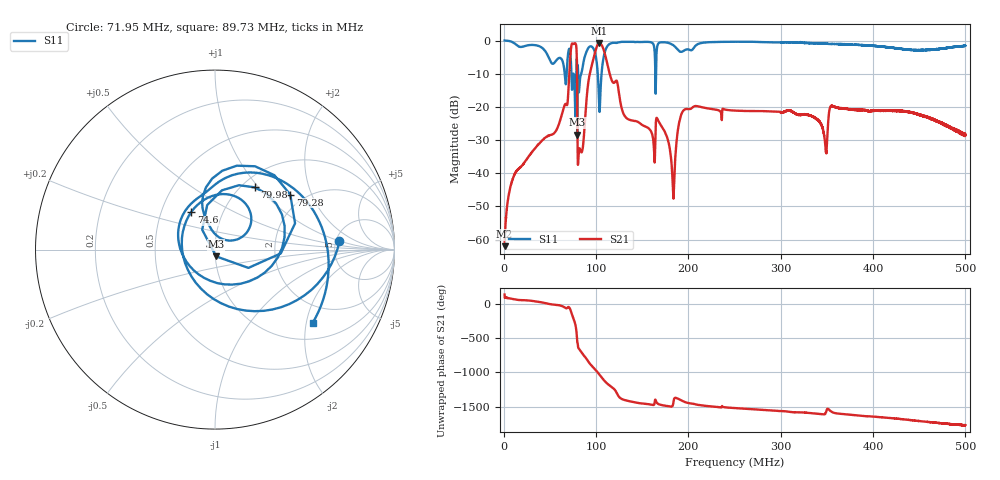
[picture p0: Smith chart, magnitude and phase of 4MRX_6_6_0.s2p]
! NanoVNA-App
! Date: 2026-08-19 17:53:23
! Start: 1MHz Stop: 500MHz Points: 6401
! S-Parameter data: F S11 S21 S12 S22
# Hz S RI R 50
!  Frequency  S11_Real  S11_Imag  S21_Real  S21_Imag  S12_Real  S12_Imag  S22_Real  S22_Imag
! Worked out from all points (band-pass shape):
!   6401 points, 1 MHz to 500 MHz, reference 50 ohm
!   highest |S21| = -0.76 dB at 103.7 MHz (marker M1); lowest = -62.0 dB at 1 MHz (marker M2)
!   |S21| within 3 dB of the highest: 72.47 MHz to 79.01 MHz (6.534 MHz wide, 8.63 % of centre); 98.78 MHz to 109.3 MHz (10.55 MHz wide, 10.1 % of centre)
!   lowest |S11| = -28.3 dB at 79.59 MHz (marker M3), VSWR 1.08, Z = 50.5 - j3.82 ohm
!   |S11| at or under -10 dB: 75.69 MHz to 78.75 MHz (3.054 MHz wide, 3.96 % of centre); 80.65 MHz to 84.01 MHz (3.357 MHz wide, 4.08 % of centre); 101.9 MHz to 106 MHz (4.125 MHz wide, 3.97 % of centre)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
!   S12 and S22 are empty: the file has one direction only
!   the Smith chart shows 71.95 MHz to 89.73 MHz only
!   S11 on the Smith chart (normalised r, x): 71.95 MHz: 5.38, +0.94; 74.6 MHz: 0.71, +0.31; 79.28 MHz: 1.69, +1.42; 79.98 MHz: 1.14, +0.95; 89.73 MHz: 1.44, -2.18
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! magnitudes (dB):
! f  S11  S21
! 1 MHz  0.0  -62.0
! 10.59 MHz  -0.6  -41.1
! 57.53 MHz  -5.8  -26.8
! 71.95 MHz  -3.2  -5.9
! 74.6 MHz  -12.1  -0.9
! 79.28 MHz  -5.7  -6.9
! 79.59 MHz  -28.3  -15.6
! 79.98 MHz  -7.7  -31.2
! 84.19 MHz  -9.8  -33.7
! 89.73 MHz  -3.3  -17.7
! 103.7 MHz  -21.3  -0.8
! 111.9 MHz  -1.8  -6.7
! 131.9 MHz  -0.4  -23.1
! 167.4 MHz  -1.0  -24.2
! 183.4 MHz  -1.4  -46.3
! 195.1 MHz  -3.1  -21.0
! 250.5 MHz  -0.4  -21.1
! 333.7 MHz  -0.8  -22.8
! 348.4 MHz  -0.9  -31.7
! 355.5 MHz  -1.0  -19.7
! 416.9 MHz  -2.0  -21.2
! 500 MHz  -1.6  -28.5
